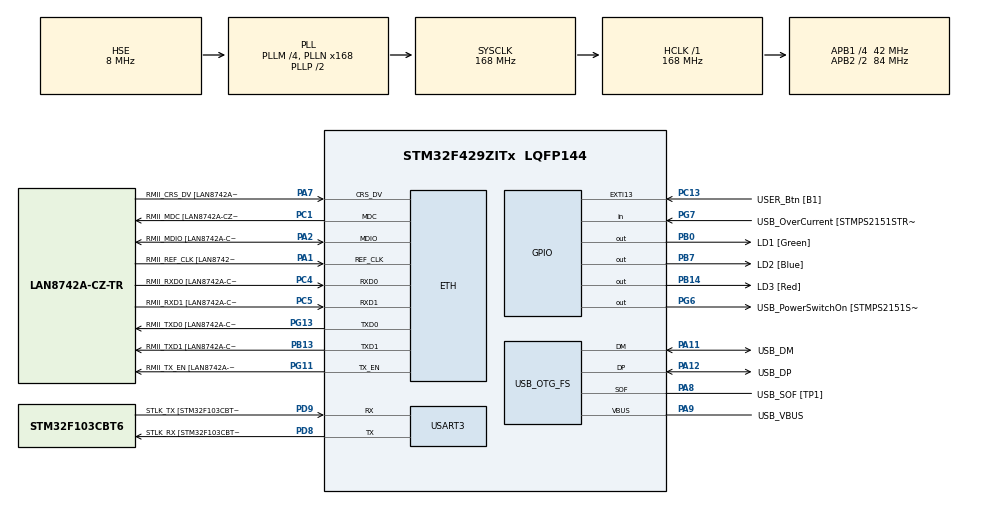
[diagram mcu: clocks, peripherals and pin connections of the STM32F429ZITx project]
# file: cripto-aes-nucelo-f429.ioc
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ETH.MediaInterface=HAL_ETH_RMII_MODE
ETH.PHY_Name=LAN8742A_PHY_ADDRESS
ETH.PHY_Value=0
ETH.PhyAddress=0
Mcu.Family=STM32F4
Mcu.Name=STM32F429ZITx
Mcu.Package=LQFP144
NVIC.PriorityGroup=NVIC_PRIORITYGROUP_4
NVIC.USART3_IRQn=true\:0\:0\:false\:false\:true\:true\:true\:true
PA1.GPIO_Label=RMII_REF_CLK [LAN8742A-CZ-TR_REFCLK0]
PA1.Mode=RMII
PA1.Signal=ETH_REF_CLK
PA10.GPIO_Label=USB_ID
PA10.Signal=USB_OTG_FS_ID
PA11.GPIO_Label=USB_DM
PA11.Mode=Device_Only
PA11.Signal=USB_OTG_FS_DM
PA12.GPIO_Label=USB_DP
PA12.Mode=Device_Only
PA12.Signal=USB_OTG_FS_DP
PA13.GPIO_Label=TMS
PA13.Mode=Serial_Wire
PA13.Signal=SYS_JTMS-SWDIO
PA14.GPIO_Label=TCK
PA14.Mode=Serial_Wire
PA14.Signal=SYS_JTCK-SWCLK
PA2.GPIO_Label=RMII_MDIO [LAN8742A-CZ-TR_MDIO]
PA2.Mode=RMII
PA2.Signal=ETH_MDIO
PA7.GPIO_Label=RMII_CRS_DV [LAN8742A-CZ-TR_CRS_DV]
PA7.Mode=RMII
PA7.Signal=ETH_CRS_DV
PA8.GPIO_Label=USB_SOF [TP1]
PA8.Mode=Activate_SOF_FS
PA8.Signal=USB_OTG_FS_SOF
PA9.GPIO_Label=USB_VBUS
PA9.Mode=Activate_VBUS
PA9.Signal=USB_OTG_FS_VBUS
PB0.GPIO_Label=LD1 [Green]
PB0.Signal=GPIO_Output
PB13.GPIO_Label=RMII_TXD1 [LAN8742A-CZ-TR_TXD1]
PB13.Mode=RMII
PB13.Signal=ETH_TXD1
PB14.GPIO_Label=LD3 [Red]
PB14.Signal=GPIO_Output
PB7.GPIO_Label=LD2 [Blue]
PB7.Signal=GPIO_Output
PC1.GPIO_Label=RMII_MDC [LAN8742A-CZ-TR_MDC]
PC1.Mode=RMII
PC1.Signal=ETH_MDC
PC13.GPIO_Label=USER_Btn [B1]
PC13.Signal=GPXTI13
PC14/OSC32_IN.Mode=LSE-External-Oscillator
PC14/OSC32_IN.Signal=RCC_OSC32_IN
PC15/OSC32_OUT.Mode=LSE-External-Oscillator
PC15/OSC32_OUT.Signal=RCC_OSC32_OUT
PC4.GPIO_Label=RMII_RXD0 [LAN8742A-CZ-TR_RXD0]
PC4.Mode=RMII
PC4.Signal=ETH_RXD0
PC5.GPIO_Label=RMII_RXD1 [LAN8742A-CZ-TR_RXD1]
PC5.Mode=RMII
PC5.Signal=ETH_RXD1
PD8.GPIO_Label=STLK_RX [STM32F103CBT6_PA3]
PD8.Mode=Asynchronous
PD8.Signal=USART3_TX
PD9.GPIO_Label=STLK_TX [STM32F103CBT6_PA2]
PD9.Mode=Asynchronous
PD9.Signal=USART3_RX
PG11.GPIO_Label=RMII_TX_EN [LAN8742A-CZ-TR_TXEN]
PG11.Mode=RMII
PG11.Signal=ETH_TX_EN
PG13.GPIO_Label=RMII_TXD0 [LAN8742A-CZ-TR_TXD0]
PG13.Mode=RMII
PG13.Signal=ETH_TXD0
PG6.GPIO_Label=USB_PowerSwitchOn [STMPS2151STR_EN]
PG6.Signal=GPIO_Output
PG7.GPIO_Label=USB_OverCurrent [STMPS2151STR_FAULT]
PG7.Signal=GPIO_Input
PH0/OSC_IN.GPIO_Label=MCO [STM32F103CBT6_PA8]
PH0/OSC_IN.Mode=HSE-External-Clock-Source
PH0/OSC_IN.Signal=RCC_OSC_IN
PH1/OSC_OUT.Mode=HSE-External-Clock-Source
PH1/OSC_OUT.Signal=RCC_OSC_OUT
ProjectManager.HeapSize=0x200
ProjectManager.StackSize=0x400
ProjectManager.TargetToolchain=STM32CubeIDE
RCC.48MHZClocksFreq_Value=48000000
RCC.AHBFreq_Value=168000000
RCC.APB1CLKDivider=RCC_HCLK_DIV4
RCC.APB1Freq_Value=42000000
RCC.APB1TimFreq_Value=84000000
RCC.APB2CLKDivider=RCC_HCLK_DIV2
RCC.APB2Freq_Value=84000000
RCC.APB2TimCLKDivider=2
RCC.APB2TimFreq_Value=168000000
RCC.CortexFreq_Value=168000000
RCC.HCLKFreq_Value=168000000
RCC.HSE_VALUE=8000000
RCC.HSI_VALUE=16000000
RCC.PLLM=4
RCC.PLLMUL=RCC_PLL_MUL9
RCC.PLLN=168
RCC.PLLQ=7
RCC.PRESCALERUSB=RCC_USBCLKSOURCE_PLL_DIV1_5
RCC.SYSCLKFreq_VALUE=168000000
RCC.SYSCLKSource=RCC_SYSCLKSOURCE_PLLCLK
RCC.SYSCLKSourceVirtual=RCC_SYSCLKSOURCE_PLLCLK
RCC.USBFreq_Value=48000000
RCC.VCOOutputFreq_Value=336000000
USART3.VirtualMode=VM_ASYNC
USB_OTG_FS.VirtualMode=Device_Only
VP_MBEDTLS_VS_MBEDTLS.Mode=Enabled
board=NUCLEO-F429ZI

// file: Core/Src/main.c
/* USER CODE BEGIN Header */
/**
 ******************************************************************************
 * @file           : main.c
 * @brief          : Main program body
 ******************************************************************************
 * @attention
 *
 * Copyright (c) 2022 STMicroelectronics.
 * All rights reserved.
 *
 * This software is licensed under terms that can be found in the LICENSE file
 * in the root directory of this software component.
 * If no LICENSE file comes with this software, it is provided AS-IS.
 *
 ******************************************************************************
 */
/* USER CODE END Header */
#include "main.h"
#include "eth.h"
#include "mbedtls.h"
#include "usart.h"
#include "usb_otg.h"
#include "gpio.h"

/* USER CODE BEGIN Includes */

#include "stdio.h"
#include "string.h"
#include "aes.h"
#include "aes_app.h"

/* USER CODE END Includes */

void SystemClock_Config(void);

int main(void)
{
	/* USER CODE BEGIN 1 */

	// Cleans the printf buffer
	setbuf(stdout, NULL);

	char * key128 = "abcdefghijklmnop";
	char * key192 = "abcdefghijklmnopqrstuvxw";
	char * key256 = "abcdefghijklmnopqrstuvxwyz123456";

	char *plainText = "Criptografia AES";
	unsigned char cipherTextOutput[256];
	unsigned char decipheredTextOutput[256];

	/* USER CODE END 1 */

	/* MCU Configuration--------------------------------------------------------*/

	/* Reset of all peripherals, Initializes the Flash interface and the Systick. */
	HAL_Init();

	/* Configure the system clock */
	SystemClock_Config();

	/* Initialize all configured peripherals */
	MX_GPIO_Init();
	MX_ETH_Init();
	MX_USART3_UART_Init();
	MX_USB_OTG_FS_PCD_Init();
	MX_MBEDTLS_Init();

	/* Infinite loop */
	while (1)
	{

		/* USER CODE BEGIN 3 */

		printf("Using 128 bits: \r\n");

//		printf("AES_ECB: \r\n");
		encrypt_ecb(plainText, key128, cipherTextOutput);
		decrypt_ecb(cipherTextOutput, key128, decipheredTextOutput);
		printf("\r\n");
/*
		printf("AES_CBC: \r\n");
		encrypt_cbc(plainText, key128, cipherTextOutput);
		decrypt_cbc(cipherTextOutput, key128, decipheredTextOutput);
		printf("\r\n");
*/
		printf("Using 192 bits: \r\n");
		encrypt_ecb(plainText, key192, cipherTextOutput);
		decrypt_ecb(cipherTextOutput, key192, decipheredTextOutput);
		printf("\r\n");

		printf("Using 256 bits: \r\n");
		encrypt_ecb(plainText, key256, cipherTextOutput);
		decrypt_ecb(cipherTextOutput, key256, decipheredTextOutput);
		printf("\r\n");

		HAL_Delay(5000);
	}
	/* USER CODE END 3 */
}

void SystemClock_Config(void)
{
	RCC_OscInitTypeDef RCC_OscInitStruct = {0};
	RCC_ClkInitTypeDef RCC_ClkInitStruct = {0};

	/** Configure the main internal regulator output voltage
	 */
	__HAL_RCC_PWR_CLK_ENABLE();
	__HAL_PWR_VOLTAGESCALING_CONFIG(PWR_REGULATOR_VOLTAGE_SCALE1);

	/** Initializes the RCC Oscillators according to the specified parameters
	 * in the RCC_OscInitTypeDef structure.
	 */
	RCC_OscInitStruct.OscillatorType = RCC_OSCILLATORTYPE_HSE;
	RCC_OscInitStruct.HSEState = RCC_HSE_BYPASS;
	RCC_OscInitStruct.PLL.PLLState = RCC_PLL_ON;
	RCC_OscInitStruct.PLL.PLLSource = RCC_PLLSOURCE_HSE;
	RCC_OscInitStruct.PLL.PLLM = 4;
	RCC_OscInitStruct.PLL.PLLN = 168;
	RCC_OscInitStruct.PLL.PLLP = RCC_PLLP_DIV2;
	RCC_OscInitStruct.PLL.PLLQ = 7;
	if (HAL_RCC_OscConfig(&RCC_OscInitStruct) != HAL_OK)
	{
		Error_Handler();
	}

	/** Initializes the CPU, AHB and APB buses clocks
	 */
	RCC_ClkInitStruct.ClockType = RCC_CLOCKTYPE_HCLK|RCC_CLOCKTYPE_SYSCLK
			|RCC_CLOCKTYPE_PCLK1|RCC_CLOCKTYPE_PCLK2;
	RCC_ClkInitStruct.SYSCLKSource = RCC_SYSCLKSOURCE_PLLCLK;
	RCC_ClkInitStruct.AHBCLKDivider = RCC_SYSCLK_DIV1;
	RCC_ClkInitStruct.APB1CLKDivider = RCC_HCLK_DIV4;
	RCC_ClkInitStruct.APB2CLKDivider = RCC_HCLK_DIV2;

	if (HAL_RCC_ClockConfig(&RCC_ClkInitStruct, FLASH_LATENCY_5) != HAL_OK)
	{
		Error_Handler();
	}
}

void Error_Handler(void)
{
	__disable_irq();
	while (1)
	{
	}
}
